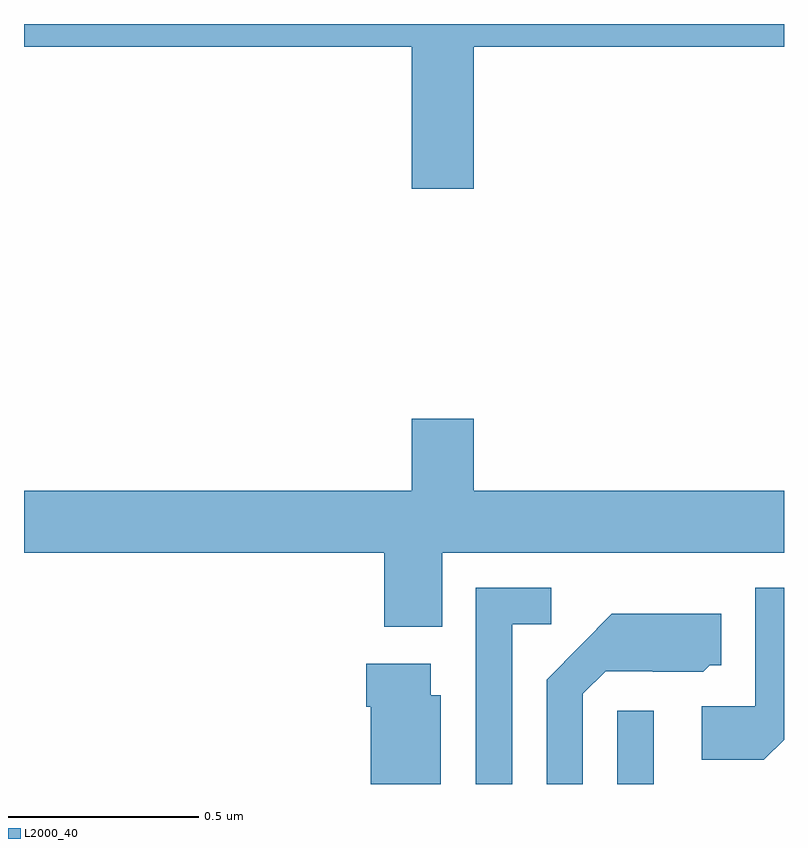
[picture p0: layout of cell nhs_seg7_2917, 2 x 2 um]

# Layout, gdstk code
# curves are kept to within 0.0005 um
import gdstk
lib = gdstk.Library(unit=1e-6, precision=1e-09)
def R(c, l, rs):  # rectangles x0, y0, x1, y1
    for r in rs: c.add(gdstk.rectangle(r[:2], r[2:], *l))
def P(c, l, *ps):  # polygons
    for p in ps: c.add(gdstk.Polygon(p, *l))
L2000_40 = (2000, 40)

nhs_seg7_2917 = lib.new_cell('nhs_seg7_2917')
R(nhs_seg7_2917, L2000_40, [(153.561,1008,153.657,1008.193)])
P(nhs_seg7_2917, L2000_40, [(153.184,1009.94),(154,1009.94),(154,1010),(152,1010),(152,1009.94),(153.02,1009.94),(153.02,1009.566),(153.184,1009.566)],
  [(153.1,1008.608),(154,1008.608),(154,1008.772),(153.184,1008.772),(153.184,1008.961),(153.02,1008.961),(153.02,1008.772),(152,1008.772),(152,1008.608),(152.948,1008.608),(152.948,1008.414),(153.1,1008.414)],
  [(154,1008.117),(154,1008.516),(153.924,1008.516),(153.924,1008.204),(153.783,1008.204),(153.783,1008.064),(153.947,1008.064)],
  [(153.285,1008.42),(153.388,1008.42),(153.388,1008.516),(153.189,1008.516),(153.189,1008),(153.285,1008)],
  [(153.471,1008.237),(153.531,1008.297),(153.654,1008.297),(153.654,1008.296),(153.788,1008.296),(153.804,1008.312),(153.835,1008.312),(153.835,1008.448),(153.547,1008.448),(153.375,1008.274),(153.375,1008),(153.471,1008)],
  [(153.097,1008.234),(153.07,1008.234),(153.07,1008.316),(152.9,1008.316),(152.9,1008.203),(152.912,1008.203),(152.912,1008),(153.097,1008)])

lib.write_gds('nhs_seg7_2917.gds')
